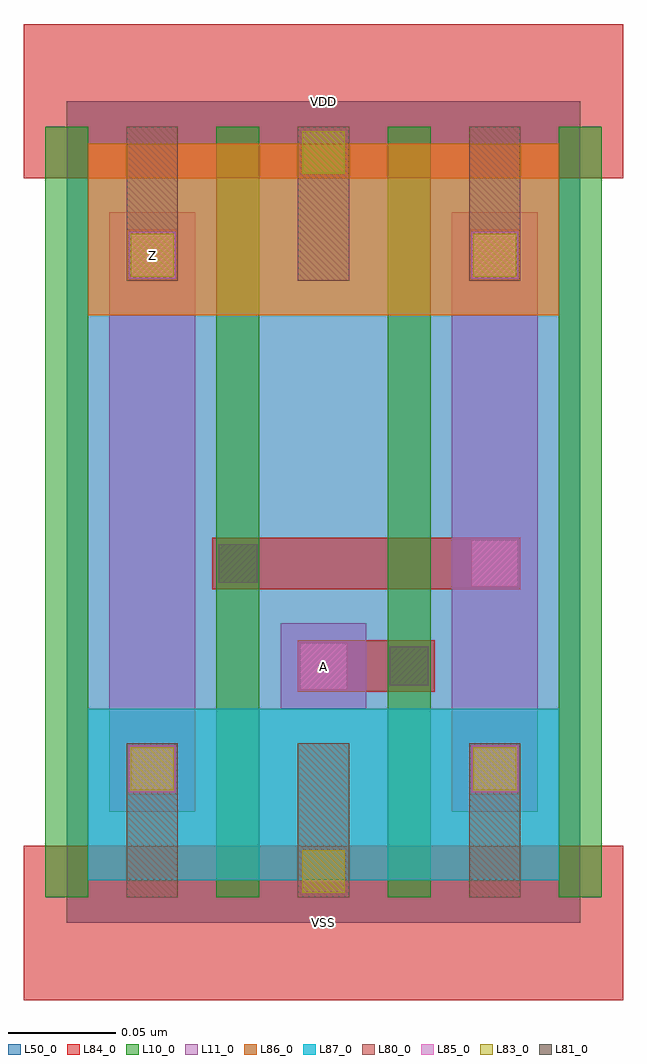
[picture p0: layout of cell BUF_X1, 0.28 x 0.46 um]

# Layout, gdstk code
import gdstk
lib = gdstk.Library(unit=1e-6, precision=1e-09)
def R(c, l, rs):  # rectangles x0, y0, x1, y1
    for r in rs: c.add(gdstk.rectangle(r[:2], r[2:], *l))
def A(c, l, x, y, w, h, nx, ny, dx, dy):  # array of equal rectangles
    R(c, l, [(x+i*dx, y+j*dy, x+i*dx+w, y+j*dy+h) for i in range(nx) for j in range(ny)])
L10_0 = (10, 0)
L11_0 = (11, 0)
L50_0 = (50, 0)
L80_0 = (80, 0)
L81_0 = (81, 0)
L83_0 = (83, 0)
L84_0 = (84, 0)
L85_0 = (85, 0)
L86_0 = (86, 0)
L87_0 = (87, 0)

buf_x1 = lib.new_cell('BUF_X1')
A(buf_x1, L10_0, -0.01, 0.012, 0.02, 0.36, 4, 1, 0.08, 0)
R(buf_x1, L11_0, [(0.02,0.052,0.06,0.332), (0.18,0.052,0.22,0.332), (0.1,0.1,0.14,0.14)])
R(buf_x1, L50_0, [(0,0,0.24,0.384)])
A(buf_x1, L80_0, 0.028, 0.012, 0.024, 0.072, 3, 2, 0.08, 0.288)
R(buf_x1, L81_0, [(0.151,0.111,0.169,0.129), (0.071,0.159,0.089,0.177)])
R(buf_x1, L83_0, [(0.11,0.014,0.13,0.034), (0.03,0.062,0.05,0.082), (0.19,0.062,0.21,0.082), (0.03,0.302,0.05,0.322), (0.19,0.302,0.21,0.322), (0.11,0.35,0.13,0.37)])
R(buf_x1, L84_0, [(-0.02,-0.036,0.26,0.036), (0.028,0.06,0.052,0.084), (0.188,0.06,0.212,0.084), (0.108,0.108,0.172,0.132), (0.068,0.156,0.212,0.18), (0.028,0.3,0.052,0.324), (0.188,0.3,0.212,0.324), (-0.02,0.348,0.26,0.42)])
R(buf_x1, L85_0, [(0.029,0.061,0.051,0.083), (0.189,0.061,0.211,0.083), (0.109,0.109,0.131,0.131), (0.189,0.157,0.211,0.179), (0.029,0.301,0.051,0.323), (0.189,0.301,0.211,0.323)])
R(buf_x1, L86_0, [(0.01,0.284,0.23,0.364)])
R(buf_x1, L87_0, [(0.01,0.02,0.23,0.1)])
buf_x1.add(gdstk.Label('VDD', (0.12,0.384), layer=88, texttype=0))
buf_x1.add(gdstk.Label('VSS', (0.12,0), layer=88, texttype=0))
buf_x1.add(gdstk.Label('Z', (0.04,0.312), layer=31, texttype=0))
buf_x1.add(gdstk.Label('A', (0.12,0.12), layer=31, texttype=0))

lib.write_gds('BUF_X1.gds')
